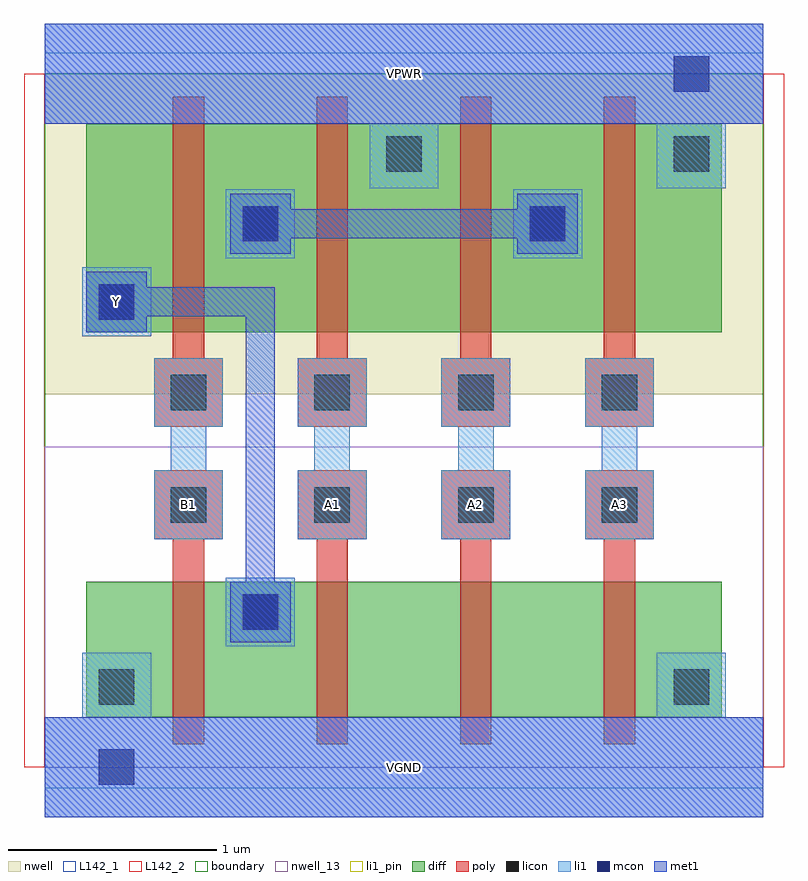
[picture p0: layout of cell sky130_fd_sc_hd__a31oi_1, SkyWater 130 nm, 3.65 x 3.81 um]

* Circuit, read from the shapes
.subckt sky130_fd_sc_hd__a31oi_1 A1 A2 A3 B1 VGND VPWR Y
XM1 Y B1 VGND VSUBS sky130_fd_pr__nfet_01v8 w=0.65 l=0.15
XM2 n1 A1 Y VSUBS sky130_fd_pr__nfet_01v8 w=0.65 l=0.15
XM3 n2 A2 n1 VSUBS sky130_fd_pr__nfet_01v8 w=0.65 l=0.15
XM4 VGND A3 n2 VSUBS sky130_fd_pr__nfet_01v8 w=0.65 l=0.15
XM5 n3 B1 Y n4 sky130_fd_pr__pfet_01v8 w=1 l=0.15
XM6 VPWR A1 n3 n4 sky130_fd_pr__pfet_01v8 w=1 l=0.15
XM7 n3 A2 VPWR n4 sky130_fd_pr__pfet_01v8 w=1 l=0.15
XM8 VPWR A3 n3 n4 sky130_fd_pr__pfet_01v8 w=1 l=0.15
.ends

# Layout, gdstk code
import gdstk
lib = gdstk.Library(unit=1e-6, precision=1e-09)
def R(c, l, rs):  # rectangles x0, y0, x1, y1
    for r in rs: c.add(gdstk.rectangle(r[:2], r[2:], *l))
def A(c, l, x, y, w, h, nx, ny, dx, dy):  # array of equal rectangles
    R(c, l, [(x+i*dx, y+j*dy, x+i*dx+w, y+j*dy+h) for i in range(nx) for j in range(ny)])
def P(c, l, *ps):  # polygons
    for p in ps: c.add(gdstk.Polygon(p, *l))
nwell_13 = (64, 13)
nwell = (64, 20)
diff = (65, 20)
poly = (66, 20)
licon = (66, 44)
li1_pin = (67, 16)
li1 = (67, 20)
mcon = (67, 44)
met1 = (68, 20)
L142_1 = (142, 1)
L142_2 = (142, 2)
boundary = (235, 4)

sky130_fd_sc_hd__a31oi_1 = lib.new_cell('sky130_fd_sc_hd__a31oi_1')
R(sky130_fd_sc_hd__a31oi_1, nwell_13, [(0,0,3.45,1.54)])
R(sky130_fd_sc_hd__a31oi_1, nwell, [(0,1.79,3.45,3.33)])
A(sky130_fd_sc_hd__a31oi_1, diff, 0.615, 0.24, 0.69, 0.65, 3, 1, 0.69, 0)
A(sky130_fd_sc_hd__a31oi_1, diff, 0.615, 2.09, 0.69, 1, 3, 1, 0.69, 0)
R(sky130_fd_sc_hd__a31oi_1, diff, [(0.2,0.24,3.25,0.89), (0.2,0.24,0.615,0.89), (2.685,0.24,3.25,0.89), (0.2,2.09,3.25,3.09), (0.2,2.09,0.615,3.09), (2.685,2.09,3.25,3.09)])
P(sky130_fd_sc_hd__a31oi_1, poly, [(1.995,0.11),(1.995,1.095),(1.905,1.095),(1.905,1.425),(2.235,1.425),(2.235,1.095),(2.145,1.095),(2.145,0.11)],
  [(1.905,1.635),(1.905,1.965),(1.995,1.965),(1.995,3.22),(2.145,3.22),(2.145,1.965),(2.235,1.965),(2.235,1.635)],
  [(1.305,0.11),(1.305,1.095),(1.215,1.095),(1.215,1.425),(1.545,1.425),(1.545,1.095),(1.455,1.095),(1.455,0.11)],
  [(1.215,1.635),(1.215,1.965),(1.305,1.965),(1.305,3.22),(1.455,3.22),(1.455,1.965),(1.545,1.965),(1.545,1.635)],
  [(2.685,0.11),(2.685,1.095),(2.595,1.095),(2.595,1.425),(2.925,1.425),(2.925,1.095),(2.835,1.095),(2.835,0.11)],
  [(2.595,1.635),(2.595,1.965),(2.685,1.965),(2.685,3.22),(2.835,3.22),(2.835,1.965),(2.925,1.965),(2.925,1.635)],
  [(0.615,0.11),(0.615,1.095),(0.525,1.095),(0.525,1.425),(0.855,1.425),(0.855,1.095),(0.765,1.095),(0.765,0.11)],
  [(0.525,1.635),(0.525,1.965),(0.615,1.965),(0.615,3.22),(0.765,3.22),(0.765,1.965),(0.855,1.965),(0.855,1.635)])
A(sky130_fd_sc_hd__a31oi_1, licon, 0.605, 1.175, 0.17, 0.17, 4, 2, 0.69, 0.54)
R(sky130_fd_sc_hd__a31oi_1, licon, [(0.26,0.3,0.43,0.47), (3.02,0.3,3.19,0.47), (0.95,0.66,1.12,0.83), (0.26,2.15,0.43,2.32), (0.95,2.525,1.12,2.695), (2.33,2.525,2.5,2.695), (1.64,2.86,1.81,3.03), (3.02,2.86,3.19,3.03)])
R(sky130_fd_sc_hd__a31oi_1, li1_pin, [(0,-0.24,3.45,0.24), (0.18,2.07,0.51,2.4), (0,3.09,3.45,3.57)])
P(sky130_fd_sc_hd__a31oi_1, li1_pin, [(1.215,1.095),(1.215,1.425),(1.295,1.425),(1.295,1.635),(1.215,1.635),(1.215,1.965),(1.545,1.965),(1.545,1.635),(1.465,1.635),(1.465,1.425),(1.545,1.425),(1.545,1.095)],
  [(0.525,1.095),(0.525,1.425),(0.605,1.425),(0.605,1.635),(0.525,1.635),(0.525,1.965),(0.855,1.965),(0.855,1.635),(0.775,1.635),(0.775,1.425),(0.855,1.425),(0.855,1.095)],
  [(2.595,1.095),(2.595,1.425),(2.675,1.425),(2.675,1.635),(2.595,1.635),(2.595,1.965),(2.925,1.965),(2.925,1.635),(2.845,1.635),(2.845,1.425),(2.925,1.425),(2.925,1.095)],
  [(1.905,1.095),(1.905,1.425),(1.985,1.425),(1.985,1.635),(1.905,1.635),(1.905,1.965),(2.235,1.965),(2.235,1.635),(2.155,1.635),(2.155,1.425),(2.235,1.425),(2.235,1.095)])
R(sky130_fd_sc_hd__a31oi_1, li1, [(0.87,0.58,1.2,0.91), (0.18,2.07,0.51,2.4), (0.87,2.445,1.2,2.775), (2.25,2.445,2.58,2.775)])
P(sky130_fd_sc_hd__a31oi_1, li1, [(1.905,1.095),(1.905,1.425),(1.985,1.425),(1.985,1.635),(1.905,1.635),(1.905,1.965),(2.235,1.965),(2.235,1.635),(2.155,1.635),(2.155,1.425),(2.235,1.425),(2.235,1.095)],
  [(1.56,2.78),(1.56,3.09),(0,3.09),(0,3.57),(3.45,3.57),(3.45,3.09),(3.27,3.09),(3.27,2.78),(2.94,2.78),(2.94,3.09),(1.89,3.09),(1.89,2.78)],
  [(1.215,1.095),(1.215,1.425),(1.295,1.425),(1.295,1.635),(1.215,1.635),(1.215,1.965),(1.545,1.965),(1.545,1.635),(1.465,1.635),(1.465,1.425),(1.545,1.425),(1.545,1.095)],
  [(0,-0.24),(0,0.24),(0.18,0.24),(0.18,0.55),(0.51,0.55),(0.51,0.24),(2.94,0.24),(2.94,0.55),(3.27,0.55),(3.27,0.24),(3.45,0.24),(3.45,-0.24)],
  [(2.595,1.095),(2.595,1.425),(2.675,1.425),(2.675,1.635),(2.595,1.635),(2.595,1.965),(2.925,1.965),(2.925,1.635),(2.845,1.635),(2.845,1.425),(2.925,1.425),(2.925,1.095)],
  [(0.525,1.095),(0.525,1.425),(0.605,1.425),(0.605,1.635),(0.525,1.635),(0.525,1.965),(0.855,1.965),(0.855,1.635),(0.775,1.635),(0.775,1.425),(0.855,1.425),(0.855,1.095)])
R(sky130_fd_sc_hd__a31oi_1, mcon, [(0.26,-0.085,0.43,0.085), (0.95,0.66,1.12,0.83), (0.26,2.15,0.43,2.32), (0.95,2.525,1.12,2.695), (2.33,2.525,2.5,2.695), (3.02,3.245,3.19,3.415)])
R(sky130_fd_sc_hd__a31oi_1, met1, [(0,-0.24,3.45,0.24), (0,3.09,3.45,3.57)])
P(sky130_fd_sc_hd__a31oi_1, met1, [(0.89,0.6),(0.89,0.89),(0.965,0.89),(0.965,2.165),(0.49,2.165),(0.49,2.09),(0.2,2.09),(0.2,2.38),(0.49,2.38),(0.49,2.305),(1.105,2.305),(1.105,0.89),(1.18,0.89),(1.18,0.6)],
  [(0.89,2.465),(0.89,2.755),(1.18,2.755),(1.18,2.68),(2.27,2.68),(2.27,2.755),(2.56,2.755),(2.56,2.465),(2.27,2.465),(2.27,2.54),(1.18,2.54),(1.18,2.465)])
R(sky130_fd_sc_hd__a31oi_1, L142_1, [(0,-0.1,3.45,0), (0,3.33,3.45,3.43)])
R(sky130_fd_sc_hd__a31oi_1, L142_2, [(-0.1,0,0,3.33), (3.45,0,3.55,3.33)])
R(sky130_fd_sc_hd__a31oi_1, boundary, [(0,0,3.45,3.33)])
sky130_fd_sc_hd__a31oi_1.add(gdstk.Label('Y', (0.345,2.235), layer=67, texttype=5))
sky130_fd_sc_hd__a31oi_1.add(gdstk.Label('A1', (1.38,1.26), layer=67, texttype=5))
sky130_fd_sc_hd__a31oi_1.add(gdstk.Label('B1', (0.69,1.26), layer=67, texttype=5))
sky130_fd_sc_hd__a31oi_1.add(gdstk.Label('A3', (2.76,1.26), layer=67, texttype=5))
sky130_fd_sc_hd__a31oi_1.add(gdstk.Label('A2', (2.07,1.26), layer=67, texttype=5))
sky130_fd_sc_hd__a31oi_1.add(gdstk.Label('VGND', (1.725,0), layer=67, texttype=5))
sky130_fd_sc_hd__a31oi_1.add(gdstk.Label('VPWR', (1.725,3.33), layer=67, texttype=5))
sky130_fd_sc_hd__a31oi_1.add(gdstk.Label('VGND', (1.725,0), layer=68, texttype=5))
sky130_fd_sc_hd__a31oi_1.add(gdstk.Label('VPWR', (1.725,3.33), layer=68, texttype=5))

lib.write_gds('sky130_fd_sc_hd__a31oi_1.gds')
